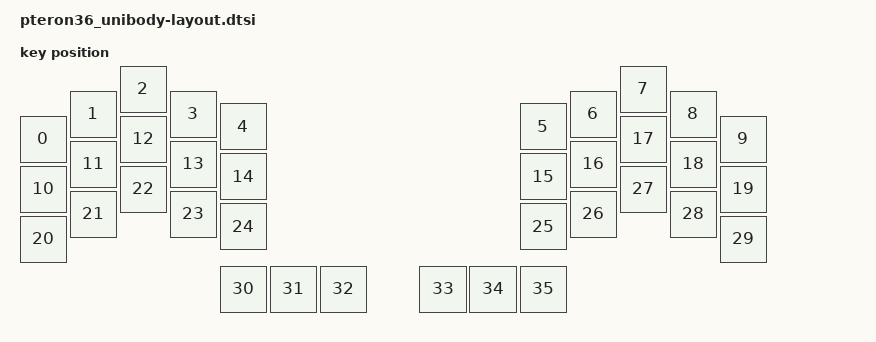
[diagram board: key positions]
#include <physical_layouts.dtsi>

/ {
    physical_layout0: physical_layout_0 {
        compatible = "zmk,physical-layout";
        display-name = "LAYOUT_split_3x5_3";

        kscan = <&kscan0>;
        transform = <&matrix_transform0>;

        keys  //                     w   h    x    y     rot    rx    ry
            = <&key_physical_attrs 100 100    0  100       0     0     0>
            , <&key_physical_attrs 100 100  100   50       0     0     0>
            , <&key_physical_attrs 100 100  200    0       0     0     0>
            , <&key_physical_attrs 100 100  300   50       0     0     0>
            , <&key_physical_attrs 100 100  400   75       0     0     0>
            , <&key_physical_attrs 100 100 1000   75       0     0     0>
            , <&key_physical_attrs 100 100 1100   50       0     0     0>
            , <&key_physical_attrs 100 100 1200    0       0     0     0>
            , <&key_physical_attrs 100 100 1300   50       0     0     0>
            , <&key_physical_attrs 100 100 1400  100       0     0     0>
            , <&key_physical_attrs 100 100    0  200       0     0     0>
            , <&key_physical_attrs 100 100  100  150       0     0     0>
            , <&key_physical_attrs 100 100  200  100       0     0     0>
            , <&key_physical_attrs 100 100  300  150       0     0     0>
            , <&key_physical_attrs 100 100  400  175       0     0     0>
            , <&key_physical_attrs 100 100 1000  175       0     0     0>
            , <&key_physical_attrs 100 100 1100  150       0     0     0>
            , <&key_physical_attrs 100 100 1200  100       0     0     0>
            , <&key_physical_attrs 100 100 1300  150       0     0     0>
            , <&key_physical_attrs 100 100 1400  200       0     0     0>
            , <&key_physical_attrs 100 100    0  300       0     0     0>
            , <&key_physical_attrs 100 100  100  250       0     0     0>
            , <&key_physical_attrs 100 100  200  200       0     0     0>
            , <&key_physical_attrs 100 100  300  250       0     0     0>
            , <&key_physical_attrs 100 100  400  275       0     0     0>
            , <&key_physical_attrs 100 100 1000  275       0     0     0>
            , <&key_physical_attrs 100 100 1100  250       0     0     0>
            , <&key_physical_attrs 100 100 1200  200       0     0     0>
            , <&key_physical_attrs 100 100 1300  250       0     0     0>
            , <&key_physical_attrs 100 100 1400  300       0     0     0>
            , <&key_physical_attrs 100 100  400  400       0     0     0>
            , <&key_physical_attrs 100 100  500  400       0     0     0>
            , <&key_physical_attrs 100 100  600  400       0     0     0>
            , <&key_physical_attrs 100 100  800  400       0     0     0>
            , <&key_physical_attrs 100 100  900  400       0     0     0>
            , <&key_physical_attrs 100 100 1000  400       0     0     0>
            ;
    };
};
